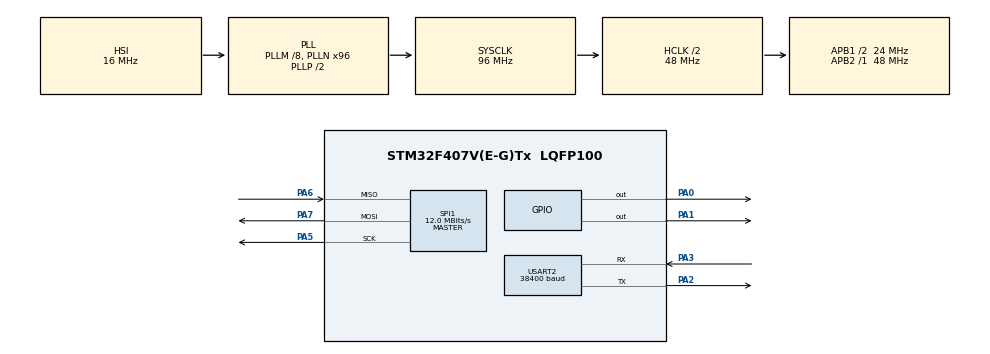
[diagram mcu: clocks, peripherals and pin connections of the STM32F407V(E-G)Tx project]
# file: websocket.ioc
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Mcu.Family=STM32F4
Mcu.Name=STM32F407V(E-G)Tx
Mcu.Package=LQFP100
NVIC.PriorityGroup=NVIC_PRIORITYGROUP_4
PA0-WKUP.Signal=GPIO_Output
PA1.Signal=GPIO_Output
PA13.Mode=Serial_Wire
PA13.Signal=SYS_JTMS-SWDIO
PA14.Mode=Serial_Wire
PA14.Signal=SYS_JTCK-SWCLK
PA2.Mode=Asynchronous
PA2.Signal=USART2_TX
PA3.Mode=Asynchronous
PA3.Signal=USART2_RX
PA5.Mode=Full_Duplex_Master
PA5.Signal=SPI1_SCK
PA6.Mode=Full_Duplex_Master
PA6.Signal=SPI1_MISO
PA7.Mode=Full_Duplex_Master
PA7.Signal=SPI1_MOSI
PH0-OSC_IN.Mode=HSE-External-Oscillator
PH0-OSC_IN.Signal=RCC_OSC_IN
PH1-OSC_OUT.Mode=HSE-External-Oscillator
PH1-OSC_OUT.Signal=RCC_OSC_OUT
ProjectManager.HeapSize=0x200
ProjectManager.StackSize=0x400
ProjectManager.TargetToolchain=STM32CubeIDE
RCC.48MHZClocksFreq_Value=48000000
RCC.AHBCLKDivider=RCC_SYSCLK_DIV2
RCC.AHBFreq_Value=48000000
RCC.APB1CLKDivider=RCC_HCLK_DIV2
RCC.APB1Freq_Value=24000000
RCC.APB1TimFreq_Value=48000000
RCC.APB2Freq_Value=48000000
RCC.APB2TimFreq_Value=48000000
RCC.CortexFreq_Value=48000000
RCC.HCLKFreq_Value=48000000
RCC.HSE_VALUE=8000000
RCC.HSI_VALUE=16000000
RCC.LSE_VALUE=32768
RCC.PLLM=8
RCC.PLLN=96
RCC.SYSCLKFreq_VALUE=96000000
RCC.SYSCLKSource=RCC_SYSCLKSOURCE_PLLCLK
RCC.VCOOutputFreq_Value=192000000
SPI1.BaudRatePrescaler=SPI_BAUDRATEPRESCALER_4
SPI1.CalculateBaudRate=12.0 MBits/s
SPI1.Direction=SPI_DIRECTION_2LINES
SPI1.Mode=SPI_MODE_MASTER
SPI1.VirtualType=VM_MASTER
USART2.BaudRate=38400
USART2.VirtualMode=VM_ASYNC
board=custom

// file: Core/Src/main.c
/* USER CODE BEGIN Header */
/**
  ******************************************************************************
  * @file           : main.c
  * @brief          : Main program body
  ******************************************************************************
  * @attention
  *
  * Copyright (c) 2024 STMicroelectronics.
  * All rights reserved.
  *
  * This software is licensed under terms that can be found in the LICENSE file
  * in the root directory of this software component.
  * If no LICENSE file comes with this software, it is provided AS-IS.
  *
  ******************************************************************************
  */
/* USER CODE END Header */
#include "main.h"

/* USER CODE BEGIN Includes */

#include "stdio.h"
#include "w5500.h"
#include "wizchip_conf.h"
#include "socket.h"
#include "w5500_spi.h"
#include "DHCP/dhcp.h"
#include "time.h"

//#include "web_socket/web_socket.h"

#define DHCP_BUFF_SIZE	2048
uint8_t dhcp_buffer[DHCP_BUFF_SIZE];

#define RX_BUFFER_SIZE 0x03  // 8KB

//w5500 has 8 sockets, we will use the last one for DHCP
#define SOCKET_ID_FOR_DHCP 7

#define PING_TARGET_IP "8.8.8.8" //Ping

#define RANDOM_STRING_LENGTH 5000

#define START_TAG "start<"
#define END_TAG "end>"
#define START_TAG_LENGTH (sizeof(START_TAG) - 1)
#define END_TAG_LENGTH (sizeof(END_TAG) - 1)

#define BUFFER_SIZE (RANDOM_STRING_LENGTH + sizeof(START_TAG) - 1 + sizeof(END_TAG) - 1)

/* USER CODE END Includes */

/* USER CODE BEGIN PTD */
SPI_HandleTypeDef hspi1;

UART_HandleTypeDef huart2;

wiz_NetInfo gWIZNETINFO = {
		.mac = { 0x80, 0x34, 0x28, 0x74, 0xA5, 0xCB },//MSB - LSB
		.ip ={ 192, 168, 1, 112 },
		.sn = { 255, 255, 255, 0 },
		.gw ={ 192, 168, 1, 1 },
		.dns = { 8, 8, 8, 8 },
		.dhcp = NETINFO_STATIC };

uint8_t destination_ip[]={192,168,0,101};
uint16_t destination_port = 5000;

volatile uint8_t dhcpDone = 0;

/* USER CODE END PTD */

SPI_HandleTypeDef hspi1;

UART_HandleTypeDef huart2;

void SystemClock_Config(void);
static void MX_GPIO_Init(void);
static void MX_SPI1_Init(void);
static void MX_USART2_UART_Init(void);
static void UWriteData(const char data);
static void PHYStatusCheck(void);
static void PrintPHYConf(void);
void OnDHCPIPAssigned(void);
void DisplayNetworkConfigurations();
void generateRandomString(char *str, size_t length);

//void sendRandomString(void);

int main(void) {
	HAL_Init();
	    setbuf(stdout, NULL);
	    SystemClock_Config();
	    MX_GPIO_Init();
	    MX_SPI1_Init();
	    MX_USART2_UART_Init();

	    printf("--- W5500 DHCP TEST ----!\r\n");
	    W5500Init();

	    wiz_PhyConf phyconf;
	    phyconf.by = PHY_CONFBY_SW;
	    phyconf.duplex = PHY_DUPLEX_FULL;
	    phyconf.speed = PHY_SPEED_10;
	    phyconf.mode = PHY_MODE_AUTONEGO;
	    ctlwizchip(CW_SET_PHYCONF, (void*)&phyconf);

	    PHYStatusCheck();
	    PrintPHYConf();

	    DHCP_init(SOCKET_ID_FOR_DHCP, dhcp_buffer);
	    reg_dhcp_cbfunc(OnDHCPIPAssigned, NULL, NULL);

	    printf("Obtaining IP address ...\r\n");

	    while (!dhcpDone) {
	        DHCP_run();
	    }

	    // Tạo socket
	    int sock = socket(1, Sn_MR_TCP, 0, 0);
	    if (sock != 1) {
	        printf("\r\nCannot create socket");
	        while (1);
	    }

	    // Kết nối đến server
	    if (connect(sock, destination_ip, destination_port) != SOCK_OK) {
	        printf("\r\nCannot connect to server!");
	        while (1);
	    }

	    printf("\r\nConnected with server.");

	    // Giữ kết nối và gửi chuỗi dữ liệu liên tục
	    while (1) {
	        sendData(sock);
	        HAL_Delay(1000); // Đợi 1 giây trước khi gửi lại
	    }
}

void OnDHCPIPAssigned(void)
{
    printf("IP Obtained: \r\n");

    getIPfromDHCP(gWIZNETINFO.ip);
    getGWfromDHCP(gWIZNETINFO.gw);
    getSNfromDHCP(gWIZNETINFO.sn);
    getDNSfromDHCP(gWIZNETINFO.dns);

    gWIZNETINFO.dhcp = NETINFO_DHCP;

    ctlnetwork(CN_SET_NETINFO, (void*)&gWIZNETINFO);

    DisplayNetworkConfigurations();
    PHYStatusCheck();
    PrintPHYConf();

    dhcpDone = 1;  // IP đã được cấp phát
}

void DisplayNetworkConfigurations()
{
	ctlnetwork(CN_GET_NETINFO, (void*) &gWIZNETINFO);

	printf(" MAC : %02X:%02X:%02X:%02X:%02X:%02X\r\n", gWIZNETINFO.mac[0], gWIZNETINFO.mac[1], gWIZNETINFO.mac[2], gWIZNETINFO.mac[3], gWIZNETINFO.mac[4], gWIZNETINFO.mac[5]);
	printf(" IP : %d.%d.%d.%d\r\n", gWIZNETINFO.ip[0], gWIZNETINFO.ip[1], gWIZNETINFO.ip[2], gWIZNETINFO.ip[3]);
	printf(" GW : %d.%d.%d.%d\r\n", gWIZNETINFO.gw[0], gWIZNETINFO.gw[1], gWIZNETINFO.gw[2], gWIZNETINFO.gw[3]);
	printf(" SN : %d.%d.%d.%d\r\n", gWIZNETINFO.sn[0], gWIZNETINFO.sn[1], gWIZNETINFO.sn[2], gWIZNETINFO.sn[3]);
	printf("=======================================\r\n");
}

void UWriteData(const char data)
{
	while(__HAL_UART_GET_FLAG(&huart2,UART_FLAG_TXE)==RESET);

	huart2.Instance->DR=data;

}

int __io_putchar(int ch)
{
	UWriteData(ch);
	return ch;
}

void PHYStatusCheck(void)
{
	uint8_t tmp;

	do
	{
		printf("\r\nChecking Ethernet Cable Presence ...");
		ctlwizchip(CW_GET_PHYLINK, (void*) &tmp);

		if(tmp == PHY_LINK_OFF)
		{
			printf("NO Cable Connected!");
			HAL_Delay(1500);
		}
	}while(tmp == PHY_LINK_OFF);

	printf("Good! Cable got connected!");

}

void PrintPHYConf(void)
{
	wiz_PhyConf phyconf;

	ctlwizchip(CW_GET_PHYCONF, (void*) &phyconf);

	if(phyconf.by==PHY_CONFBY_HW)
	{
		printf("\n\rPHY Configured by Hardware Pins");
	}
	else
	{
		printf("\n\rPHY Configured by Registers");
	}

	if(phyconf.mode==PHY_MODE_AUTONEGO)
	{
		printf("\n\rAutonegotiation Enabled");
	}
	else
	{
		printf("\n\rAutonegotiation NOT Enabled");
	}

	if(phyconf.duplex==PHY_DUPLEX_FULL)
	{
		printf("\n\rDuplex Mode: Full");
	}
	else
	{
		//printf("\n\rDuplex Mode: Half");
	}

	if(phyconf.speed==PHY_SPEED_10)
	{
		//printf("\n\rSpeed: 10Mbps");
	}
	else
	{
		printf("\n\rSpeed: 100Mbps");
	}
}

void generateRandomString(char *str, size_t length) {
    const char charset[] = "abcdefghijklmnopqrstuvwxyzABCDEFGHIJKLMNOPQRSTUVWXYZ0123456789";
    for (size_t i = 0; i < length; i++) {
        int key = rand() % (int)(sizeof(charset) - 1);
        str[i] = charset[key];
    }
    str[length] = '\0'; // Kết thúc chuỗi
}

void sendData(int sock) {
    char randomString[RANDOM_STRING_LENGTH + 1];
    char buffer[BUFFER_SIZE];

    // Tạo chuỗi ngẫu nhiên
    generateRandomString(randomString, RANDOM_STRING_LENGTH);
    randomString[RANDOM_STRING_LENGTH] = '\0'; // Đảm bảo kết thúc chuỗi bằng ký tự NULL

    // Tạo chuỗi bao bọc với START_TAG và END_TAG
    snprintf(buffer, sizeof(buffer), "%s%s%s", START_TAG, randomString, END_TAG);

    int totalSent = 0;
    int bufferSize = strlen(buffer);

    while (totalSent < bufferSize) {
        // Tính toán kích thước dữ liệu còn lại để gửi
        int remaining = bufferSize - totalSent;

        // Gửi dữ liệu qua W5500
        int sent = send(sock, (uint8_t*)buffer + totalSent, remaining);

        if (sent <= 0) {
            printf("\r\nFailed to send data!");
            return;
        }

        totalSent += sent;

        // In số byte đã gửi và số byte còn lại
        printf("\r\nSent %d bytes, %d bytes remaining", totalSent, bufferSize - totalSent);
    }

    printf("\r\nSent Oke");
}

  /* USER CODE END 3 */

void SystemClock_Config(void)
{
  RCC_OscInitTypeDef RCC_OscInitStruct = {0};
  RCC_ClkInitTypeDef RCC_ClkInitStruct = {0};

  /** Configure the main internal regulator output voltage
  */
  __HAL_RCC_PWR_CLK_ENABLE();
  __HAL_PWR_VOLTAGESCALING_CONFIG(PWR_REGULATOR_VOLTAGE_SCALE1);

  /** Initializes the RCC Oscillators according to the specified parameters
  * in the RCC_OscInitTypeDef structure.
  */
  RCC_OscInitStruct.OscillatorType = RCC_OSCILLATORTYPE_HSI;
  RCC_OscInitStruct.HSIState = RCC_HSI_ON;
  RCC_OscInitStruct.HSICalibrationValue = RCC_HSICALIBRATION_DEFAULT;
  RCC_OscInitStruct.PLL.PLLState = RCC_PLL_ON;
  RCC_OscInitStruct.PLL.PLLSource = RCC_PLLSOURCE_HSI;
  RCC_OscInitStruct.PLL.PLLM = 8;
  RCC_OscInitStruct.PLL.PLLN = 96;
  RCC_OscInitStruct.PLL.PLLP = RCC_PLLP_DIV2;
  RCC_OscInitStruct.PLL.PLLQ = 4;
  if (HAL_RCC_OscConfig(&RCC_OscInitStruct) != HAL_OK)
  {
    Error_Handler();
  }

  /** Initializes the CPU, AHB and APB buses clocks
  */
  RCC_ClkInitStruct.ClockType = RCC_CLOCKTYPE_HCLK|RCC_CLOCKTYPE_SYSCLK
                              |RCC_CLOCKTYPE_PCLK1|RCC_CLOCKTYPE_PCLK2;
  RCC_ClkInitStruct.SYSCLKSource = RCC_SYSCLKSOURCE_PLLCLK;
  RCC_ClkInitStruct.AHBCLKDivider = RCC_SYSCLK_DIV2;
  RCC_ClkInitStruct.APB1CLKDivider = RCC_HCLK_DIV2;
  RCC_ClkInitStruct.APB2CLKDivider = RCC_HCLK_DIV1;

  if (HAL_RCC_ClockConfig(&RCC_ClkInitStruct, FLASH_LATENCY_1) != HAL_OK)
  {
    Error_Handler();
  }
}

static void MX_SPI1_Init(void)
{

  /* SPI1 parameter configuration*/
  hspi1.Instance = SPI1;
  hspi1.Init.Mode = SPI_MODE_MASTER;
  hspi1.Init.Direction = SPI_DIRECTION_2LINES;
  hspi1.Init.DataSize = SPI_DATASIZE_8BIT;
  hspi1.Init.CLKPolarity = SPI_POLARITY_LOW;
  hspi1.Init.CLKPhase = SPI_PHASE_1EDGE;
  hspi1.Init.NSS = SPI_NSS_SOFT;
  hspi1.Init.BaudRatePrescaler = SPI_BAUDRATEPRESCALER_4;
  hspi1.Init.FirstBit = SPI_FIRSTBIT_MSB;
  hspi1.Init.TIMode = SPI_TIMODE_DISABLE;
  hspi1.Init.CRCCalculation = SPI_CRCCALCULATION_DISABLE;
  hspi1.Init.CRCPolynomial = 10;
  if (HAL_SPI_Init(&hspi1) != HAL_OK)
  {
    Error_Handler();
  }
  /* USER CODE BEGIN SPI1_Init 2 */
  __HAL_SPI_ENABLE(&hspi1);

  /* USER CODE END SPI1_Init 2 */

}

static void MX_USART2_UART_Init(void)
{

  huart2.Instance = USART2;
  huart2.Init.BaudRate = 38400;
  huart2.Init.WordLength = UART_WORDLENGTH_8B;
  huart2.Init.StopBits = UART_STOPBITS_1;
  huart2.Init.Parity = UART_PARITY_NONE;
  huart2.Init.Mode = UART_MODE_TX_RX;
  huart2.Init.HwFlowCtl = UART_HWCONTROL_NONE;
  huart2.Init.OverSampling = UART_OVERSAMPLING_16;
  if (HAL_UART_Init(&huart2) != HAL_OK)
  {
    Error_Handler();
  }

}

static void MX_GPIO_Init(void)
{
  GPIO_InitTypeDef GPIO_InitStruct = {0};

  /* GPIO Ports Clock Enable */
  __HAL_RCC_GPIOH_CLK_ENABLE();
  __HAL_RCC_GPIOA_CLK_ENABLE();

  /*Configure GPIO pin Output Level */
  HAL_GPIO_WritePin(GPIOA, GPIO_PIN_0|GPIO_PIN_1, GPIO_PIN_RESET);

  /*Configure GPIO pins : PA0 PA1 */
  GPIO_InitStruct.Pin = GPIO_PIN_0|GPIO_PIN_1;
  GPIO_InitStruct.Mode = GPIO_MODE_OUTPUT_PP;
  GPIO_InitStruct.Pull = GPIO_NOPULL;
  GPIO_InitStruct.Speed = GPIO_SPEED_FREQ_LOW;
  HAL_GPIO_Init(GPIOA, &GPIO_InitStruct);

}

void Error_Handler(void)
{
  __disable_irq();
  while (1)
  {
  }
}
